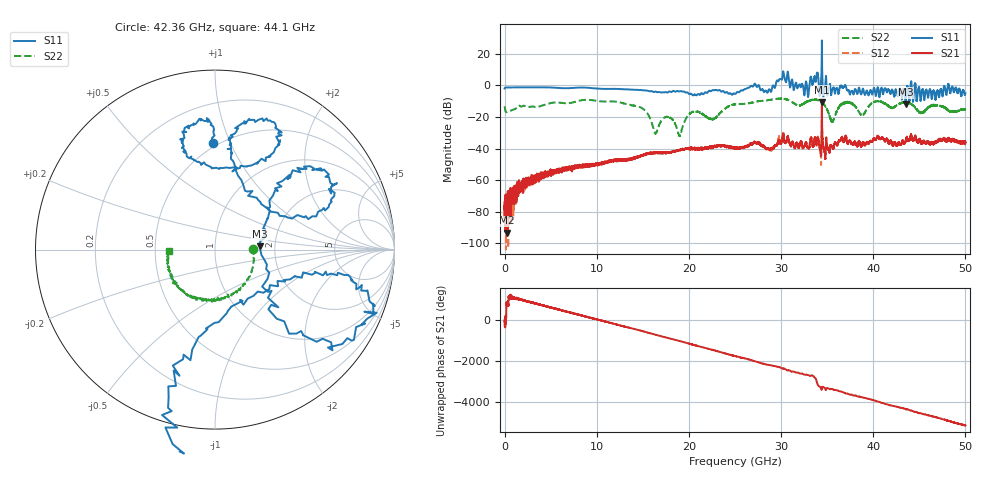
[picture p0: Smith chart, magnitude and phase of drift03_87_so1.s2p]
!Created with skrf (http://scikit-rf.org).
# Hz S RI R 50.0
!freq ReS11 ImS11 ReS21 ImS21 ReS12 ImS12 ReS22 ImS22
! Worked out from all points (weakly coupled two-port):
!   10000 points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, 5.3 MHz to 50 GHz, reference 50 ohm
!   highest |S21| = -10.67 dB at 34.43 GHz (marker M1); lowest = -93.1 dB at 285.3 MHz (marker M2)
!   lowest |S11| = -12.1 dB at 43.52 GHz (marker M3), VSWR 1.66, Z = 82.9 + j3.37 ohm
!   |S11| at or under -10 dB: 43.48471 GHz to 43.54247 GHz (57.76 MHz wide, 0.133 % of centre); 44.30307 GHz to 44.3183 GHz (15.23 MHz wide, 0.0344 % of centre); 44.32255 GHz to 44.33075 GHz (8.194 MHz wide, 0.0185 % of centre) (the widest 3 of 4)
!   |S22| runs from -32.2 to -8.4 dB; largest |S21 - S12| = 0.095
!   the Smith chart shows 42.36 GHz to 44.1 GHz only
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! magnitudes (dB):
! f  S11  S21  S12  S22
! 5.3 MHz  -2.1  -78.2  -84.3  -13.3
! 285.3 MHz  -1.4  -93.1  -73.7  -16.9
! 3.125 GHz  -1.4  -62.4  -60.1  -13.5
! 8.34 GHz  -1.5  -50.9  -51.1  -9.5
! 14.6 GHz  -3.1  -45.3  -45.3  -13.7
! 16.67 GHz  -4.4  -42.7  -42.8  -26.6
! 17.79 GHz  -4.3  -42.3  -42.5  -20.1
! 19.01 GHz  -3.8  -40.9  -40.9  -32.0
! 20.3 GHz  -5.6  -40.2  -40.0  -17.1
! 22.61 GHz  -3.0  -39.3  -38.9  -21.6
! 25.01 GHz  -5.5  -39.6  -39.9  -12.1
! 28.72 GHz  -2.5  -40.6  -40.5  -9.3
! 30.14 GHz  4.5  -33.8  -33.9  -8.5
! 32.74 GHz  2.0  -36.8  -36.5  -10.6
! 33.34 GHz  2.7  -35.1  -35.1  -9.3
! 34.43 GHz  28.3  -10.7  -13.4  -10.8
! 35.55 GHz  -2.9  -39.0  -39.0  -23.3
! 36.95 GHz  0.2  -33.5  -33.1  -11.2
! 38.78 GHz  -4.4  -37.9  -37.9  -19.0
! 41.67 GHz  -2.8  -36.8  -36.8  -13.0
! 43.52 GHz  -12.1  -35.2  -35.1  -10.8
! 50 GHz  -5.2  -36.0  -36.9  -15.4
